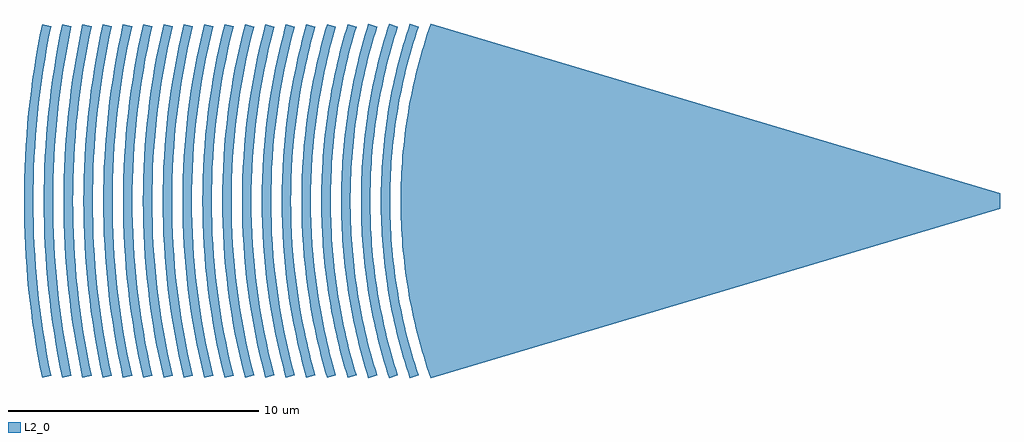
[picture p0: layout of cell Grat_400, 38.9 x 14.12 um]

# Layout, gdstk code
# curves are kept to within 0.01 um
import gdstk
lib = gdstk.Library(unit=1e-6, precision=1e-09)
def P(c, l, *ps):  # polygons
    for p in ps: c.add(gdstk.Polygon(p, *l))
L2_0 = (2, 0)

grat_400 = lib.new_cell('Grat_400')
P(grat_400, L2_0, [(-22.688,-7.06),(-22.974,-6.178),(-23.22,-5.296),(-23.425,-4.413),(-23.592,-3.53),(-23.721,-2.648),(-23.812,-1.765),(-23.867,-0.883),(-23.885,0),(-23.867,0.883),(-23.812,1.765),(-23.721,2.648),(-23.592,3.53),(-23.425,4.413),(-23.22,5.296),(-22.974,6.178),(-22.688,7.06),(0,0.3),(0,-0.3)],
  [(-23.519,-7.059),(-23.795,-6.177),(-24.032,-5.294),(-24.184,-4.632),(-24.355,-3.75),(-24.488,-2.868),(-24.586,-1.985),(-24.657,-0.882),(-24.675,0),(-24.657,0.882),(-24.586,1.985),(-24.488,2.868),(-24.355,3.75),(-24.184,4.632),(-24.032,5.294),(-23.795,6.177),(-23.519,7.059),(-23.168,6.941),(-23.44,6.073),(-23.673,5.206),(-23.868,4.338),(-24.026,3.471),(-24.149,2.603),(-24.236,1.735),(-24.288,0.868),(-24.305,0),(-24.288,-0.868),(-24.236,-1.735),(-24.149,-2.603),(-24.026,-3.471),(-23.868,-4.338),(-23.673,-5.206),(-23.44,-6.073),(-23.168,-6.941)],
  [(-24.347,-7.057),(-24.614,-6.175),(-24.843,-5.293),(-25.035,-4.411),(-25.19,-3.529),(-25.311,-2.646),(-25.397,-1.764),(-25.448,-0.882),(-25.465,0),(-25.448,0.882),(-25.397,1.764),(-25.311,2.646),(-25.19,3.529),(-25.035,4.411),(-24.843,5.293),(-24.614,6.175),(-24.347,7.057),(-23.995,6.943),(-24.258,6.075),(-24.483,5.207),(-24.672,4.339),(-24.825,3.471),(-24.944,2.604),(-25.028,1.736),(-25.078,0.868),(-25.095,0),(-25.078,-0.868),(-25.028,-1.736),(-24.944,-2.604),(-24.825,-3.471),(-24.672,-4.339),(-24.483,-5.207),(-24.258,-6.075),(-23.995,-6.943)],
  [(-25.173,-7.055),(-25.431,-6.173),(-25.652,-5.292),(-25.838,-4.41),(-25.989,-3.528),(-26.106,-2.646),(-26.189,-1.764),(-26.238,-0.882),(-26.255,0),(-26.238,0.882),(-26.189,1.764),(-26.106,2.646),(-25.989,3.528),(-25.838,4.41),(-25.652,5.292),(-25.431,6.173),(-25.173,7.055),(-24.82,6.945),(-25.074,6.077),(-25.292,5.208),(-25.475,4.34),(-25.623,3.472),(-25.738,2.604),(-25.82,1.736),(-25.869,0.868),(-25.885,0),(-25.869,-0.868),(-25.82,-1.736),(-25.738,-2.604),(-25.623,-3.472),(-25.475,-4.34),(-25.292,-5.208),(-25.074,-6.077),(-24.82,-6.945)],
  [(-25.996,-7.053),(-26.246,-6.172),(-26.461,-5.29),(-26.641,-4.409),(-26.787,-3.527),(-26.9,-2.645),(-26.981,-1.763),(-27.029,-0.882),(-27.045,0),(-27.029,0.882),(-26.981,1.763),(-26.9,2.645),(-26.787,3.527),(-26.641,4.409),(-26.461,5.29),(-26.246,6.172),(-25.996,7.053),(-25.642,6.947),(-25.889,6.078),(-26.1,5.21),(-26.277,4.341),(-26.421,3.473),(-26.533,2.605),(-26.612,1.737),(-26.659,0.868),(-26.675,0),(-26.659,-0.868),(-26.612,-1.737),(-26.533,-2.605),(-26.421,-3.473),(-26.277,-4.341),(-26.1,-5.21),(-25.889,-6.078),(-25.642,-6.947)],
  [(-26.818,-7.052),(-27.06,-6.171),(-27.268,-5.289),(-27.442,-4.408),(-27.584,-3.526),(-27.694,-2.645),(-27.772,-1.763),(-27.819,-0.882),(-27.835,0),(-27.819,0.882),(-27.772,1.763),(-27.694,2.645),(-27.584,3.526),(-27.442,4.408),(-27.268,5.289),(-27.06,6.171),(-26.818,7.052),(-26.463,6.948),(-26.702,6.079),(-26.906,5.211),(-27.079,4.342),(-27.218,3.474),(-27.327,2.605),(-27.404,1.737),(-27.45,0.868),(-27.465,0),(-27.45,-0.868),(-27.404,-1.737),(-27.327,-2.605),(-27.218,-3.474),(-27.079,-4.342),(-26.906,-5.211),(-26.702,-6.079),(-26.463,-6.948)],
  [(-27.637,-7.05),(-27.872,-6.169),(-28.074,-5.288),(-28.244,-4.407),(-28.381,-3.525),(-28.488,-2.644),(-28.564,-1.763),(-28.61,-0.881),(-28.625,0),(-28.61,0.881),(-28.564,1.763),(-28.488,2.644),(-28.381,3.525),(-28.244,4.407),(-28.074,5.288),(-27.872,6.169),(-27.637,7.05),(-27.282,6.95),(-27.513,6.081),(-27.712,5.212),(-27.879,4.343),(-28.015,3.475),(-28.121,2.606),(-28.195,1.737),(-28.24,0.869),(-28.255,0),(-28.24,-0.869),(-28.195,-1.737),(-28.121,-2.606),(-28.015,-3.475),(-27.879,-4.343),(-27.712,-5.212),(-27.513,-6.081),(-27.282,-6.95)],
  [(-28.455,-7.049),(-28.683,-6.168),(-28.879,-5.287),(-29.044,-4.406),(-29.178,-3.525),(-29.282,-2.644),(-29.356,-1.762),(-29.4,-0.881),(-29.415,0),(-29.4,0.881),(-29.356,1.762),(-29.282,2.644),(-29.178,3.525),(-29.044,4.406),(-28.879,5.287),(-28.683,6.168),(-28.455,7.049),(-28.099,6.951),(-28.324,6.082),(-28.517,5.213),(-28.68,4.344),(-28.812,3.475),(-28.914,2.606),(-28.987,1.738),(-29.031,0.869),(-29.045,0),(-29.031,-0.869),(-28.987,-1.738),(-28.914,-2.606),(-28.812,-3.475),(-28.68,-4.344),(-28.517,-5.213),(-28.324,-6.082),(-28.099,-6.951)],
  [(-29.272,-7.047),(-29.493,-6.167),(-29.684,-5.286),(-29.844,-4.405),(-29.975,-3.524),(-30.076,-2.643),(-30.147,-1.762),(-30.191,-0.881),(-30.205,0),(-30.191,0.881),(-30.147,1.762),(-30.076,2.643),(-29.975,3.524),(-29.844,4.405),(-29.684,5.286),(-29.493,6.167),(-29.272,7.047),(-28.914,6.953),(-29.133,6.083),(-29.321,5.214),(-29.479,4.345),(-29.608,3.476),(-29.708,2.607),(-29.779,1.738),(-29.821,0.869),(-29.835,0),(-29.821,-0.869),(-29.779,-1.738),(-29.708,-2.607),(-29.608,-3.476),(-29.479,-4.345),(-29.321,-5.214),(-29.133,-6.083),(-28.914,-6.953)],
  [(-30.087,-7.046),(-30.302,-6.166),(-30.487,-5.285),(-30.644,-4.404),(-30.771,-3.523),(-30.869,-2.643),(-30.939,-1.762),(-30.981,-0.881),(-30.995,0),(-30.981,0.881),(-30.939,1.762),(-30.869,2.643),(-30.771,3.523),(-30.644,4.404),(-30.487,5.285),(-30.302,6.166),(-30.087,7.046),(-29.728,6.954),(-29.941,6.084),(-30.125,5.215),(-30.278,4.346),(-30.404,3.477),(-30.501,2.607),(-30.57,1.738),(-30.611,0.869),(-30.625,0),(-30.611,-0.869),(-30.57,-1.738),(-30.501,-2.607),(-30.404,-3.477),(-30.278,-4.346),(-30.125,-5.215),(-29.941,-6.084),(-29.728,-6.954)],
  [(-30.9,-7.045),(-31.11,-6.165),(-31.29,-5.284),(-31.442,-4.404),(-31.566,-3.523),(-31.662,-2.642),(-31.73,-1.761),(-31.771,-0.881),(-31.785,0),(-31.771,0.881),(-31.73,1.761),(-31.662,2.642),(-31.566,3.523),(-31.442,4.404),(-31.29,5.284),(-31.11,6.165),(-30.9,7.045),(-30.541,6.955),(-30.749,6.085),(-30.927,5.216),(-31.077,4.346),(-31.199,3.477),(-31.294,2.608),(-31.361,1.739),(-31.402,0.869),(-31.415,0),(-31.402,-0.869),(-31.361,-1.739),(-31.294,-2.608),(-31.199,-3.477),(-31.077,-4.346),(-30.927,-5.216),(-30.749,-6.085),(-30.541,-6.955)],
  [(-31.712,-7.044),(-31.917,-6.164),(-32.093,-5.283),(-32.241,-4.403),(-32.362,-3.522),(-32.455,-2.642),(-32.522,-1.761),(-32.562,-0.881),(-32.575,0),(-32.562,0.881),(-32.522,1.761),(-32.455,2.642),(-32.362,3.522),(-32.241,4.403),(-32.093,5.283),(-31.917,6.164),(-31.712,7.044),(-31.353,6.956),(-31.555,6.086),(-31.729,5.217),(-31.875,4.347),(-31.995,3.478),(-32.087,2.608),(-32.153,1.739),(-32.192,0.869),(-32.205,0),(-32.192,-0.869),(-32.153,-1.739),(-32.087,-2.608),(-31.995,-3.478),(-31.875,-4.347),(-31.729,-5.217),(-31.555,-6.086),(-31.353,-6.956)],
  [(-32.524,-7.043),(-32.723,-6.163),(-32.895,-5.283),(-33.039,-4.402),(-33.157,-3.522),(-33.248,-2.641),(-33.313,-1.761),(-33.352,-0.88),(-33.365,0),(-33.352,0.88),(-33.313,1.761),(-33.248,2.641),(-33.157,3.522),(-33.039,4.402),(-32.895,5.283),(-32.723,6.163),(-32.524,7.043),(-32.164,6.957),(-32.361,6.087),(-32.531,5.217),(-32.673,4.348),(-32.79,3.478),(-32.88,2.609),(-32.944,1.739),(-32.982,0.87),(-32.995,0),(-32.982,-0.87),(-32.944,-1.739),(-32.88,-2.609),(-32.79,-3.478),(-32.673,-4.348),(-32.531,-5.217),(-32.361,-6.087),(-32.164,-6.957)],
  [(-33.334,-7.042),(-33.528,-6.162),(-33.696,-5.282),(-33.837,-4.402),(-33.952,-3.521),(-34.041,-2.641),(-34.104,-1.761),(-34.142,-0.88),(-34.155,0),(-34.142,0.88),(-34.104,1.761),(-34.041,2.641),(-33.952,3.521),(-33.837,4.402),(-33.696,5.282),(-33.528,6.162),(-33.334,7.042),(-32.974,6.958),(-33.166,6.088),(-33.332,5.218),(-33.471,4.348),(-33.584,3.479),(-33.672,2.609),(-33.735,1.739),(-33.773,0.87),(-33.785,0),(-33.773,-0.87),(-33.735,-1.739),(-33.672,-2.609),(-33.584,-3.479),(-33.471,-4.348),(-33.332,-5.218),(-33.166,-6.088),(-32.974,-6.958)],
  [(-34.143,-7.041),(-34.333,-6.161),(-34.496,-5.281),(-34.634,-4.401),(-34.746,-3.521),(-34.833,-2.641),(-34.895,-1.76),(-34.932,-0.88),(-34.945,0),(-34.932,0.88),(-34.895,1.76),(-34.833,2.641),(-34.746,3.521),(-34.634,4.401),(-34.496,5.281),(-34.333,6.161),(-34.143,7.041),(-33.783,6.959),(-33.97,6.089),(-34.132,5.219),(-34.268,4.349),(-34.379,3.479),(-34.465,2.609),(-34.526,1.74),(-34.563,0.87),(-34.575,0),(-34.563,-0.87),(-34.526,-1.74),(-34.465,-2.609),(-34.379,-3.479),(-34.268,-4.349),(-34.132,-5.219),(-33.97,-6.089),(-33.783,-6.959)],
  [(-34.952,-7.04),(-35.137,-6.161),(-35.297,-5.28),(-35.431,-4.4),(-35.541,-3.52),(-35.626,-2.64),(-35.686,-1.76),(-35.723,-0.88),(-35.735,0),(-35.723,0.88),(-35.686,1.76),(-35.626,2.64),(-35.541,3.52),(-35.431,4.4),(-35.297,5.28),(-35.137,6.161),(-34.952,7.04),(-34.591,6.96),(-34.774,6.089),(-34.932,5.22),(-35.065,4.35),(-35.173,3.48),(-35.257,2.61),(-35.317,1.74),(-35.353,0.87),(-35.365,0),(-35.353,-0.87),(-35.317,-1.74),(-35.257,-2.61),(-35.173,-3.48),(-35.065,-4.35),(-34.932,-5.22),(-34.774,-6.089),(-34.591,-6.96)],
  [(-35.759,-7.039),(-35.94,-6.16),(-36.096,-5.28),(-36.228,-4.4),(-36.335,-3.52),(-36.418,-2.64),(-36.478,-1.76),(-36.513,-0.88),(-36.525,0),(-36.513,0.88),(-36.478,1.76),(-36.418,2.64),(-36.335,3.52),(-36.228,4.4),(-36.096,5.28),(-35.94,6.16),(-35.759,7.039),(-35.398,6.961),(-35.577,6.09),(-35.731,5.22),(-35.861,4.35),(-35.967,3.48),(-36.05,2.61),(-36.108,1.74),(-36.143,0.87),(-36.155,0),(-36.143,-0.87),(-36.108,-1.74),(-36.05,-2.61),(-35.967,-3.48),(-35.861,-4.35),(-35.731,-5.22),(-35.577,-6.09),(-35.398,-6.961)],
  [(-36.566,-7.038),(-36.743,-6.159),(-36.896,-5.279),(-37.024,-4.399),(-37.129,-3.519),(-37.211,-2.64),(-37.269,-1.76),(-37.303,-0.88),(-37.315,0),(-37.303,0.88),(-37.269,1.76),(-37.211,2.64),(-37.129,3.519),(-37.024,4.399),(-36.896,5.279),(-36.743,6.159),(-36.566,7.038),(-36.204,6.962),(-36.379,6.091),(-36.53,5.221),(-36.658,4.351),(-36.761,3.481),(-36.842,2.61),(-36.899,1.74),(-36.934,0.87),(-36.945,0),(-36.934,-0.87),(-36.899,-1.74),(-36.842,-2.61),(-36.761,-3.481),(-36.658,-4.351),(-36.53,-5.221),(-36.379,-6.091),(-36.204,-6.962)],
  [(-37.372,-7.037),(-37.545,-6.158),(-37.694,-5.279),(-37.82,-4.399),(-37.923,-3.519),(-38.003,-2.639),(-38.059,-1.76),(-38.094,-0.88),(-38.105,0),(-38.094,0.88),(-38.059,1.76),(-38.003,2.639),(-37.923,3.519),(-37.82,4.399),(-37.694,5.279),(-37.545,6.158),(-37.372,7.037),(-37.01,6.963),(-37.181,6.092),(-37.329,5.221),(-37.454,4.351),(-37.555,3.481),(-37.634,2.611),(-37.69,1.74),(-37.724,0.87),(-37.735,0),(-37.724,-0.87),(-37.69,-1.74),(-37.634,-2.611),(-37.555,-3.481),(-37.454,-4.351),(-37.329,-5.221),(-37.181,-6.092),(-37.01,-6.963)],
  [(-38.177,-7.037),(-38.347,-6.158),(-38.493,-5.278),(-38.616,-4.398),(-38.717,-3.519),(-38.795,-2.639),(-38.85,-1.759),(-38.884,-0.88),(-38.895,0),(-38.884,0.88),(-38.85,1.759),(-38.795,2.639),(-38.717,3.519),(-38.616,4.398),(-38.493,5.278),(-38.347,6.158),(-38.177,7.037),(-37.815,6.963),(-38.058,5.657),(-38.191,4.787),(-38.302,3.917),(-38.426,2.611),(-38.481,1.741),(-38.514,0.87),(-38.525,0),(-38.514,-0.87),(-38.481,-1.741),(-38.39,-3.046),(-38.302,-3.917),(-38.191,-4.787),(-37.983,-6.092),(-37.815,-6.963)])

lib.write_gds('Grat_400.gds')
